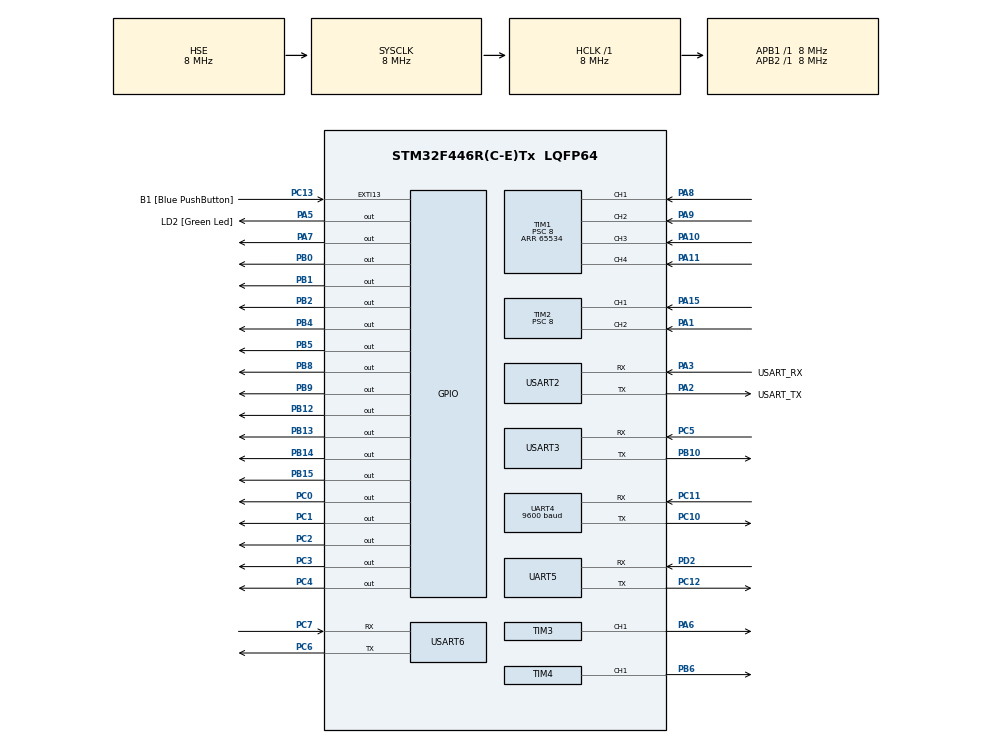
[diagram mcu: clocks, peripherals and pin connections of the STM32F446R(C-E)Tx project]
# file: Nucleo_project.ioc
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FREERTOS.HEAP_NUMBER=1
FREERTOS.Tasks01=defaultTask,0,128,StartDefaultTask,Default,NULL,Dynamic,NULL,NULL
FREERTOS.configMAX_PRIORITIES=16
FREERTOS.configUSE_NEWLIB_REENTRANT=1
Mcu.Family=STM32F4
Mcu.Name=STM32F446R(C-E)Tx
Mcu.Package=LQFP64
NVIC.PriorityGroup=NVIC_PRIORITYGROUP_4
NVIC.TIM1_CC_IRQn=true\:5\:0\:false\:false\:true\:true\:true\:true\:true
NVIC.TIM8_TRG_COM_TIM14_IRQn=true\:15\:0\:false\:false\:true\:false\:false\:true\:true
NVIC.TimeBase=TIM8_TRG_COM_TIM14_IRQn
NVIC.TimeBaseIP=TIM14
PA0-WKUP.Mode=SYS_WakeUp0
PA0-WKUP.Signal=SYS_WKUP0
PA1.Signal=S_TIM2_CH2
PA10.Signal=S_TIM1_CH3
PA11.Signal=S_TIM1_CH4
PA13.GPIO_Label=TMS
PA13.Mode=Serial_Wire
PA13.Signal=SYS_JTMS-SWDIO
PA14.GPIO_Label=TCK
PA14.Mode=Serial_Wire
PA14.Signal=SYS_JTCK-SWCLK
PA15.Signal=S_TIM2_CH1_ETR
PA2.GPIO_Label=USART_TX
PA2.Mode=Asynchronous
PA2.Signal=USART2_TX
PA3.GPIO_Label=USART_RX
PA3.Mode=Asynchronous
PA3.Signal=USART2_RX
PA5.GPIO_Label=LD2 [Green Led]
PA5.Signal=GPIO_Output
PA6.Signal=S_TIM3_CH1
PA7.Signal=GPIO_Output
PA8.Signal=S_TIM1_CH1
PA9.Signal=S_TIM1_CH2
PB0.Signal=GPIO_Output
PB1.Signal=GPIO_Output
PB10.Mode=Asynchronous
PB10.Signal=USART3_TX
PB12.Signal=GPIO_Output
PB13.Signal=GPIO_Output
PB14.Signal=GPIO_Output
PB15.Signal=GPIO_Output
PB2.Signal=GPIO_Output
PB3.GPIO_Label=SWO
PB3.Signal=SYS_JTDO-SWO
PB4.Signal=GPIO_Output
PB5.Signal=GPIO_Output
PB6.Signal=S_TIM4_CH1
PB8.Signal=GPIO_Output
PB9.Signal=GPIO_Output
PC0.Signal=GPIO_Output
PC1.Signal=GPIO_Output
PC10.Mode=Asynchronous
PC10.Signal=UART4_TX
PC11.Mode=Asynchronous
PC11.Signal=UART4_RX
PC12.Mode=Asynchronous
PC12.Signal=UART5_TX
PC13.GPIO_Label=B1 [Blue PushButton]
PC13.GPIO_ModeDefaultEXTI=GPIO_MODE_IT_FALLING
PC13.Signal=GPXTI13
PC14-OSC32_IN.Signal=RCC_OSC32_IN
PC15-OSC32_OUT.Signal=RCC_OSC32_OUT
PC2.Signal=GPIO_Output
PC3.Signal=GPIO_Output
PC4.Signal=GPIO_Output
PC5.Mode=Asynchronous
PC5.Signal=USART3_RX
PC6.Mode=Asynchronous
PC6.Signal=USART6_TX
PC7.Mode=Asynchronous
PC7.Signal=USART6_RX
PD2.Mode=Asynchronous
PD2.Signal=UART5_RX
PH0-OSC_IN.Mode=HSE-External-Oscillator
PH0-OSC_IN.Signal=RCC_OSC_IN
PH1-OSC_OUT.Mode=HSE-External-Oscillator
PH1-OSC_OUT.Signal=RCC_OSC_OUT
ProjectManager.HeapSize=0x200
ProjectManager.StackSize=0x400
ProjectManager.TargetToolchain=STM32CubeIDE
RCC.48MHZClocksFreq_Value=84000000
RCC.AHBFreq_Value=8000000
RCC.APB1Freq_Value=8000000
RCC.APB1TimFreq_Value=8000000
RCC.APB2Freq_Value=8000000
RCC.APB2TimFreq_Value=8000000
RCC.CortexFreq_Value=8000000
RCC.FLatency-AdvancedSettings=FLASH_LATENCY_0
RCC.HCLKFreq_Value=8000000
RCC.HSE_VALUE=8000000
RCC.HSI_VALUE=16000000
RCC.PLLM=4
RCC.PLLN=90
RCC.PLLSourceVirtual=RCC_PLLSOURCE_HSE
RCC.SYSCLKFreq_VALUE=8000000
RCC.SYSCLKSource=RCC_SYSCLKSOURCE_HSE
RCC.USBFreq_Value=90000000
RCC.VCOOutputFreq_Value=180000000
SH.S_TIM1_CH1.0=TIM1_CH1,Input_Capture1_from_TI1
SH.S_TIM1_CH2.0=TIM1_CH2,Input_Capture2_from_TI2
SH.S_TIM1_CH3.0=TIM1_CH3,Input_Capture3_from_TI3
SH.S_TIM1_CH4.0=TIM1_CH4,Input_Capture4_from_TI4
SH.S_TIM2_CH1_ETR.0=TIM2_CH1,Input_Capture1_from_TI1
SH.S_TIM2_CH2.0=TIM2_CH2,Input_Capture2_from_TI2
SH.S_TIM3_CH1.0=TIM3_CH1,PWM Generation1 CH1
SH.S_TIM4_CH1.0=TIM4_CH1,PWM Generation1 CH1
TIM1.Channel-Input_Capture1_from_TI1=TIM_CHANNEL_1
TIM1.Channel-Input_Capture2_from_TI2=TIM_CHANNEL_2
TIM1.Channel-Input_Capture3_from_TI3=TIM_CHANNEL_3
TIM1.Channel-Input_Capture4_from_TI4=TIM_CHANNEL_4
TIM1.CounterMode=TIM_COUNTERMODE_UP
TIM1.Period=65534
TIM1.Prescaler=8
TIM2.Channel-Input_Capture1_from_TI1=TIM_CHANNEL_1
TIM2.Channel-Input_Capture2_from_TI2=TIM_CHANNEL_2
TIM2.Period=65434
TIM2.Prescaler=8
TIM3.AutoReloadPreload=TIM_AUTORELOAD_PRELOAD_ENABLE
TIM3.Channel-PWM\ Generation1\ CH1=TIM_CHANNEL_1
TIM3.Period=20000
TIM3.Prescaler=8
TIM4.AutoReloadPreload=TIM_AUTORELOAD_PRELOAD_ENABLE
TIM4.Channel-PWM\ Generation1\ CH1=TIM_CHANNEL_1
TIM4.Period=100
TIM4.Prescaler=4
UART4.BaudRate=9600
UART4.VirtualMode=Asynchronous
UART5.VirtualMode=Asynchronous
USART2.VirtualMode=VM_ASYNC
USART3.VirtualMode=VM_ASYNC
USART6.VirtualMode=VM_ASYNC
VP_FREERTOS_VS_CMSIS_V1.Mode=CMSIS_V1
VP_SYS_VS_tim14.Mode=TIM14
VP_TIM3_VS_ClockSourceINT.Mode=Internal
VP_TIM4_VS_ClockSourceINT.Mode=Internal
board=NUCLEO-F446RE

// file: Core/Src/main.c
/* USER CODE BEGIN Header */
/**
  ******************************************************************************
  * @file           : main.c
  * @brief          : Main program body
  ******************************************************************************
  * @attention
  *
  * Copyright (c) 2024 STMicroelectronics.
  * All rights reserved.
  *
  * This software is licensed under terms that can be found in the LICENSE file
  * in the root directory of this software component.
  * If no LICENSE file comes with this software, it is provided AS-IS.
  *
  ******************************************************************************
  */
/* USER CODE END Header */
#include "main.h"
#include "cmsis_os.h"
#include "tim.h"
#include "usart.h"
#include "gpio.h"

/* USER CODE BEGIN Includes */
#include "RC_Car_App_Int.h"
/* USER CODE END Includes */

void SystemClock_Config(void);
void MX_FREERTOS_Init(void);

int main(void)
{

  /* MCU Configuration--------------------------------------------------------*/

  /* Reset of all peripherals, Initializes the Flash interface and the Systick. */
  HAL_Init();

  /* Configure the system clock */
  SystemClock_Config();

  /* Initialize all configured peripherals */
  MX_GPIO_Init();
  MX_USART2_UART_Init();
  MX_TIM1_Init();
  MX_UART4_Init();
  MX_TIM4_Init();
  MX_TIM2_Init();
  MX_TIM3_Init();
  MX_UART5_Init();
  MX_USART3_UART_Init();
  MX_USART6_UART_Init();
  /* USER CODE BEGIN 2 */

  RC_SystemInit() ;

  xTaskCreate(&T1_HandleUartReceive  		, "UART"     , 200 , NULL ,  15  , NULL    ) ;
  xTaskCreate(&T2_SignalsAction				, "Signals"  , 200 , NULL ,  12  , NULL    ) ;
  xTaskCreate(&T14_GetUltrasonicRead		, "ReadSonic", 200 , NULL ,  13  , NULL    ) ;
  xTaskCreate(&T13_ParkAlgorithmRun			, "Algorithm", 200 , NULL ,  14  , NULL    ) ;
  xTaskCreate(&T10_BreakAssistRun			, "Assist"	 , 200 , NULL ,  11  , NULL    ) ;
  xTaskCreate(&T11_RightParkRun				, "RPark"	 , 200 , NULL ,  10  , NULL    ) ;
  xTaskCreate(&T12_LeftParkRun				, "LPark"	 , 200 , NULL ,  9   , NULL    ) ;
  xTaskCreate(&T3_WhiteFrontLightFlashing	, "flashing" , 200 , NULL ,  8   , NULL    ) ;
  xTaskCreate(&T4_HornBeeping				, "Horn"	 , 200 , NULL ,  7   , NULL    ) ;
  xTaskCreate(&T5_ChangeGear				, "Gear"	 , 200 , NULL ,  6   , NULL    ) ;
  xTaskCreate(&T6_IncSpeed				    , "Inc"	 	 , 200 , NULL ,  5   , NULL    ) ;
  xTaskCreate(&T7_BrakeWheel				, "brake"	 , 200 , NULL ,  4   , NULL    ) ;
  xTaskCreate(&T8_CarMoveRight				, "Right"	 , 200 , NULL ,  3   , NULL    ) ;
  xTaskCreate(&T9_CarMoveLeft				, "left"	 , 200 , NULL ,  2   , NULL    ) ;

  /* USER CODE END 2 */

  /* Call init function for freertos objects (in freertos.c) */
  MX_FREERTOS_Init();

  /* Start scheduler */
  osKernelStart();

  /* We should never get here as control is now taken by the scheduler */
  /* Infinite loop */
  while (1)
  {

  }
}

void SystemClock_Config(void)
{
  RCC_OscInitTypeDef RCC_OscInitStruct = {0};
  RCC_ClkInitTypeDef RCC_ClkInitStruct = {0};

  /** Configure the main internal regulator output voltage
  */
  __HAL_RCC_PWR_CLK_ENABLE();
  __HAL_PWR_VOLTAGESCALING_CONFIG(PWR_REGULATOR_VOLTAGE_SCALE3);

  /** Initializes the RCC Oscillators according to the specified parameters
  * in the RCC_OscInitTypeDef structure.
  */
  RCC_OscInitStruct.OscillatorType = RCC_OSCILLATORTYPE_HSE;
  RCC_OscInitStruct.HSEState = RCC_HSE_ON;
  RCC_OscInitStruct.PLL.PLLState = RCC_PLL_NONE;
  if (HAL_RCC_OscConfig(&RCC_OscInitStruct) != HAL_OK)
  {
    Error_Handler();
  }

  /** Initializes the CPU, AHB and APB buses clocks
  */
  RCC_ClkInitStruct.ClockType = RCC_CLOCKTYPE_HCLK|RCC_CLOCKTYPE_SYSCLK
                              |RCC_CLOCKTYPE_PCLK1|RCC_CLOCKTYPE_PCLK2;
  RCC_ClkInitStruct.SYSCLKSource = RCC_SYSCLKSOURCE_HSE;
  RCC_ClkInitStruct.AHBCLKDivider = RCC_SYSCLK_DIV1;
  RCC_ClkInitStruct.APB1CLKDivider = RCC_HCLK_DIV1;
  RCC_ClkInitStruct.APB2CLKDivider = RCC_HCLK_DIV1;

  if (HAL_RCC_ClockConfig(&RCC_ClkInitStruct, FLASH_LATENCY_0) != HAL_OK)
  {
    Error_Handler();
  }
}

void HAL_TIM_PeriodElapsedCallback(TIM_HandleTypeDef *htim)
{
  if (htim->Instance == TIM14) {
    HAL_IncTick();
  }
}

void Error_Handler(void)
{
  __disable_irq();
  while (1)
  {
  }
}
